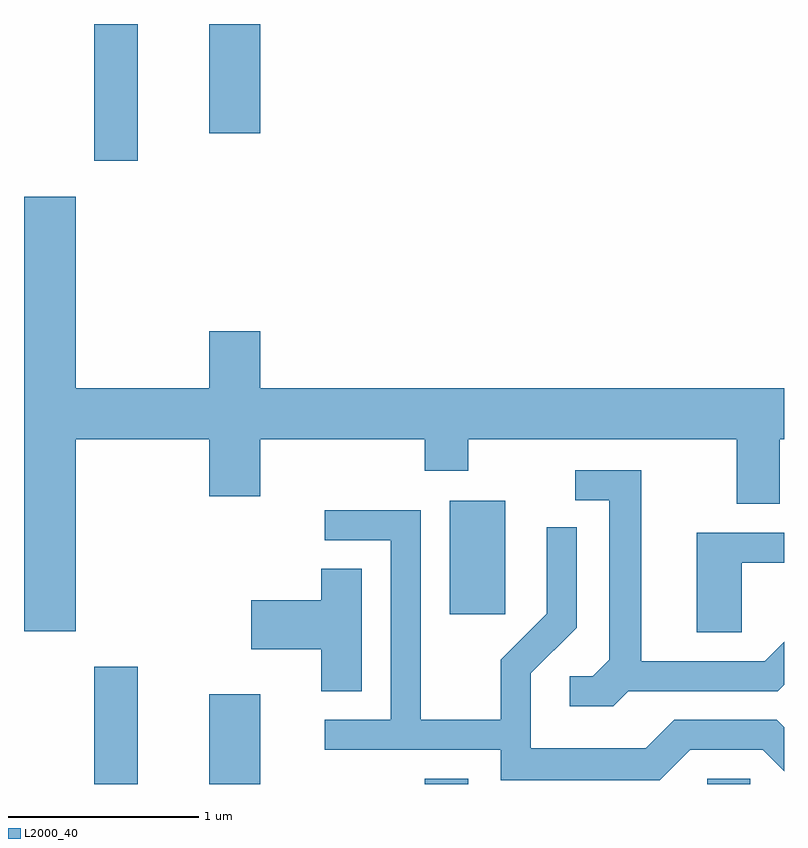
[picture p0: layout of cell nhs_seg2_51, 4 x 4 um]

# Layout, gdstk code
import gdstk
lib = gdstk.Library(unit=1e-6, precision=1e-09)
def R(c, l, rs):  # rectangles x0, y0, x1, y1
    for r in rs: c.add(gdstk.rectangle(r[:2], r[2:], *l))
def P(c, l, *ps):  # polygons
    for p in ps: c.add(gdstk.Polygon(p, *l))
L2000_40 = (2000, 40)

nhs_seg2_51 = lib.new_cell('nhs_seg2_51')
R(nhs_seg2_51, L2000_40, [(185.981,1079.802,186.209,1080.419), (186.586,1079.802,186.854,1080.274), (187.721,1079.802,187.949,1079.829), (189.206,1079.802,189.434,1079.829), (187.851,1080.696,188.144,1081.294), (185.981,1083.081,186.209,1083.802), (186.586,1083.226,186.854,1083.802)])
P(nhs_seg2_51, L2000_40, [(185.884,1081.616),(186.586,1081.616),(186.586,1081.316),(186.854,1081.316),(186.854,1081.616),(187.721,1081.616),(187.721,1081.451),(187.949,1081.451),(187.949,1081.616),(189.361,1081.616),(189.361,1081.276),(189.589,1081.276),(189.589,1081.616),(189.611,1081.616),(189.611,1081.884),(186.854,1081.884),(186.854,1082.184),(186.586,1082.184),(186.586,1081.884),(185.884,1081.884),(185.884,1082.894),(185.611,1082.894),(185.611,1080.606),(185.884,1080.606)],
  [(188.792,1080.291),(189.577,1080.291),(189.611,1080.325),(189.611,1080.552),(189.509,1080.449),(188.859,1080.449),(188.859,1081.454),(188.513,1081.454),(188.513,1081.296),(188.691,1081.296),(188.691,1080.457),(188.604,1080.369),(188.483,1080.369),(188.483,1080.211),(188.712,1080.211)],
  [(189.117,1079.981),(189.499,1079.981),(189.611,1079.869),(189.611,1080.1),(189.572,1080.139),(189.034,1080.139),(188.884,1079.989),(188.279,1079.989),(188.279,1080.384),(188.519,1080.624),(188.519,1081.153),(188.361,1081.153),(188.361,1080.697),(188.121,1080.457),(188.121,1080.139),(187.699,1080.139),(187.699,1081.244),(187.193,1081.244),(187.193,1081.086),(187.541,1081.086),(187.541,1080.139),(187.193,1080.139),(187.193,1079.981),(188.121,1079.981),(188.121,1079.821),(188.957,1079.821)],
  [(189.389,1080.966),(189.611,1080.966),(189.611,1081.124),(189.151,1081.124),(189.151,1080.601),(189.389,1080.601)],
  [(187.389,1080.934),(187.176,1080.934),(187.176,1080.769),(186.806,1080.769),(186.806,1080.511),(187.176,1080.511),(187.176,1080.291),(187.389,1080.291)])

lib.write_gds('nhs_seg2_51.gds')
